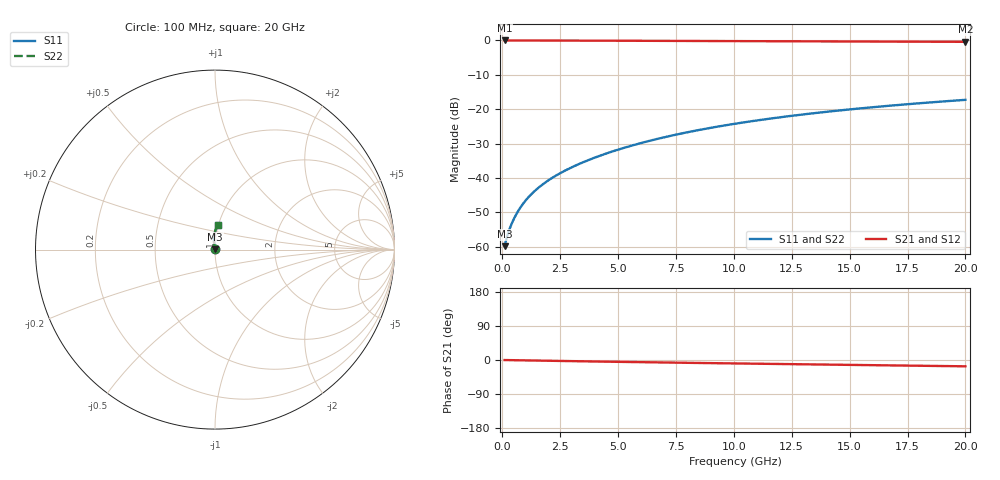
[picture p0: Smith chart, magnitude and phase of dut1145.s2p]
! Touchstone file exported from HFSS 2024.1.0
!  File:  C:/UserFiles/LocalFiles/RDL_TSV_Batchsim/temp_RDL_bottom_1145_1780055822.aedt
!  Generated:  07:59:18 PM May 29, 2026
!  Design:  RDL_bottom
!  Project:  temp_RDL_bottom_1145_1780055822
!  Setup:  Setup1
!  Solution:  Sweep
! Variables:
!  dtsv = 10.80580581um
!  hbump = 3um
!  htsv = 86.89um
!  ldown = 243.91um
!  lrdl = 100um
!  p = 40
!  p1 = 48.4um
!  rhole = 1um
!  t = 450um
!  tdown = 4.49um
!  trdl = 3.915915916um
!  wdown = 29.93um
!  wrdl = 20um
# GHz S MA R 50.000000
! Terminal data exported
! Port[1] = RDL1_T1
! Port[2] = RDL1_T2
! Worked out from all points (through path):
!   200 points, 100 MHz to 20 GHz, reference 50 ohm
!   highest |S21| = -0.01 dB at 100 MHz (marker M1); lowest = -0.4 dB at 20 GHz (marker M2)
!   group delay of S21, straight-line fit = 2.27 ps
!   lowest |S11| = -59.8 dB at 100 MHz (marker M3), VSWR 1.00, Z = 50.1 + j0.0562 ohm
!   |S11| at or under -10 dB: start of sweep to end of sweep
!   |S22| runs from -59.8 to -17.3 dB; largest |S21 - S12| = 3.2e-15
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0.1  0.001025 33.2  0.9991 -0.1  0.9991 -0.1  0.001025 33.2
! Gamma 0 0 0 0
! Port Impedance 50 0 50 0
0.2  0.001393 48.1  0.999 -0.2  0.999 -0.2  0.001393 48.1
0.3  0.001767 56.8  0.9989 -0.3  0.9989 -0.3  0.001767 56.8
0.4  0.002153 63.0  0.9989 -0.4  0.9989 -0.4  0.002152 63.0
0.5  0.002552 67.6  0.9988 -0.5  0.9988 -0.5  0.002552 67.6
0.6  0.002964 71.1  0.9987 -0.6  0.9987 -0.6  0.002964 71.1
0.8  0.003816 76.2  0.9986 -0.8  0.9986 -0.8  0.003816 76.2
1  0.004692 79.7  0.9984 -1.0  0.9984 -1.0  0.004692 79.7
1.2  0.005586 82.3  0.9982 -1.2  0.9982 -1.2  0.005587 82.3
1.7  0.00789 86.7  0.9976 -1.7  0.9976 -1.7  0.00789 86.7
2.2  0.01029 89.6  0.9967 -2.2  0.9967 -2.2  0.01029 89.6
2.8  0.0133 92.2  0.9955 -2.8  0.9955 -2.8  0.0133 92.2
3.5  0.01704 94.3  0.9939 -3.5  0.9939 -3.5  0.01704 94.3
4.2  0.02103 95.8  0.9921 -4.2  0.9921 -4.2  0.02103 95.8
5  0.02588 96.9  0.9899 -4.9  0.9899 -4.9  0.02588 96.9
6.8  0.03782 97.5  0.9846 -6.4  0.9846 -6.4  0.03782 97.5
8.4  0.04929 96.8  0.9801 -7.8  0.9801 -7.8  0.04929 96.8
10.1  0.062 95.3  0.9756 -9.1  0.9756 -9.1  0.062 95.3
11.7  0.0742 93.6  0.9717 -10.4  0.9717 -10.4  0.0742 93.6
13.4  0.08724 91.7  0.9679 -11.7  0.9679 -11.7  0.08724 91.7
16.7  0.1124 87.8  0.9611 -14.2  0.9611 -14.2  0.1124 87.8
20  0.137 84.1  0.9547 -16.7  0.9547 -16.7  0.137 84.1
